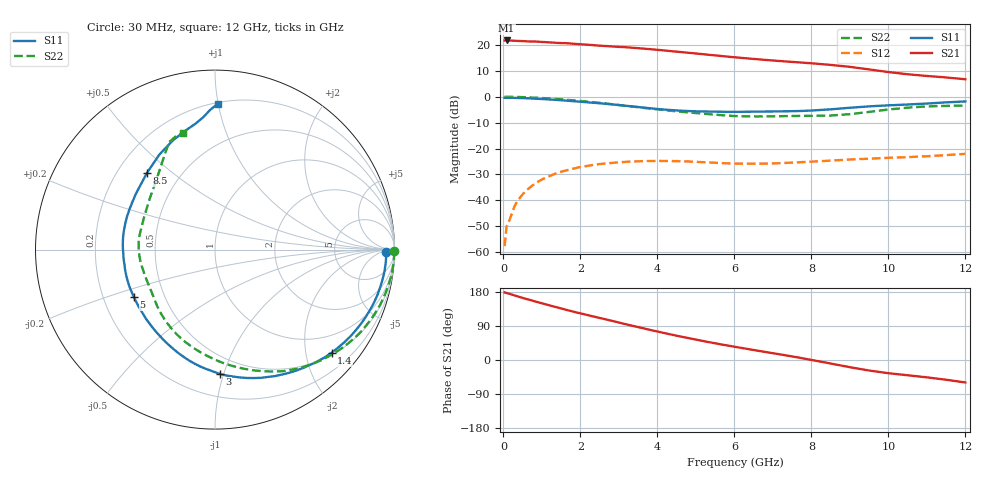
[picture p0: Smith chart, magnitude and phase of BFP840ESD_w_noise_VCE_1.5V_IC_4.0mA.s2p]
! Infineon Technologies  Discrete & RF Semiconductors
! BFP840ESD
! VCE =  1.5 V,  IC =  4.0 mA
! Common Emitter S-Parameters:  May 2012
# GHz  S  MA  R  50
!  f  S11  S21  S12  S22
! GHz  MAG  ANG  MAG  ANG  MAG  ANG  MAG  ANG
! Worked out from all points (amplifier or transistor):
!   93 points, 30 MHz to 12 GHz, reference 50 ohm
!   highest |S21| = 21.7 dB at 80 MHz (marker M1)
!   |S21| within 3 dB of that: start of sweep to 3.512 GHz
!   unconditionally stable (mu >= 1): 6.274 GHz to 10.52 GHz
!   at 1.1 GHz: K = 0.16, MSG = 26.2 dB, |S12| = -31.2 dB
!   at 4.2 GHz: K = 0.54, MSG = 21.3 dB, |S12| = -24.8 dB
!   at 12 GHz: K = 0.69, MSG = 14.4 dB, |S12| = -22.0 dB
!   lowest NFmin = 0.52 dB at 450 MHz
!   S11 on the Smith chart (normalised r, x): 30 MHz: 40, -12; 1.4 GHz: 0.55, -2.54; 3 GHz: 0.36, -0.97; 5 GHz: 0.33, -0.24; 8.5 GHz: 0.32, +0.41; 12 GHz: 0.21, +1.00
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0.03  0.9555 -0.8  12.22 178.3  0.0013 89.2  0.9972 -0.6
0.08  0.9542 -2.4  12.23 176.8  0.0031 88.5  0.9984 -2.1
0.5  0.9407 -15.1  11.88 163.8  0.0131 78.5  0.9827 -13.3
0.8  0.92 -24.0  11.69 155.2  0.0205 71.0  0.9619 -21.1
1.2  0.8861 -35.7  11.21 144.0  0.0294 62.1  0.9244 -31.3
1.4  0.8671 -41.5  10.97 138.7  0.0337 57.5  0.9025 -36.3
1.7  0.8334 -50.3  10.73 130.6  0.0389 51.3  0.8662 -43.7
2.1  0.7903 -61.7  10.22 120.6  0.045 43.6  0.8158 -53.4
2.5  0.748 -73.1  9.71 110.9  0.0502 36.2  0.7632 -62.8
3  0.6923 -87.9  9.177 98.9  0.0542 28.1  0.6927 -74.6
3.5  0.6341 -103.3  8.674 86.8  0.0567 20.7  0.6269 -87.2
4.1  0.5716 -122.3  7.936 72.9  0.0576 12.9  0.5596 -102.6
4.5  0.5446 -134.8  7.432 64.1  0.0572 8.6  0.5233 -112.7
5  0.5234 -149.9  6.849 53.8  0.0553 4.3  0.484 -124.4
5.6  0.514 -165.8  6.191 42.2  0.0526 1.7  0.4447 -137.5
6.1  0.5111 -177.2  5.705 33.3  0.0511 1.7  0.4222 -148.6
7.5  0.5273 154.7  4.712 9.4  0.0535 3.7  0.4251 -179.8
8.5  0.5715 131.5  4.126 -9.3  0.0584 2.7  0.4336 156.2
9  0.6134 120.4  3.78 -19.0  0.0614 1.0  0.4615 142.0
9.5  0.6525 111.0  3.371 -27.8  0.0636 -0.9  0.5096 129.6
10.5  0.7085 99.0  2.718 -40.3  0.0682 -4.4  0.6154 116.3
12  0.8121 88.9  2.177 -59.3  0.079 -9.5  0.6754 105.4
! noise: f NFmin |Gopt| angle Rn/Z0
0.45  0.52  0.53  2  0.24
0.9  0.54  0.52  6  0.23
1.5  0.57  0.52  16  0.19
1.9  0.61  0.5  18  0.18
2.4  0.64  0.46  32  0.16
3.5  0.7  0.36  58  0.13
5.5  0.85  0.26  115  0.1
8  1.05  0.38  -147  0.06
10  1.25  0.52  -105  0.16
12  1.49  0.58  -82  0.27
